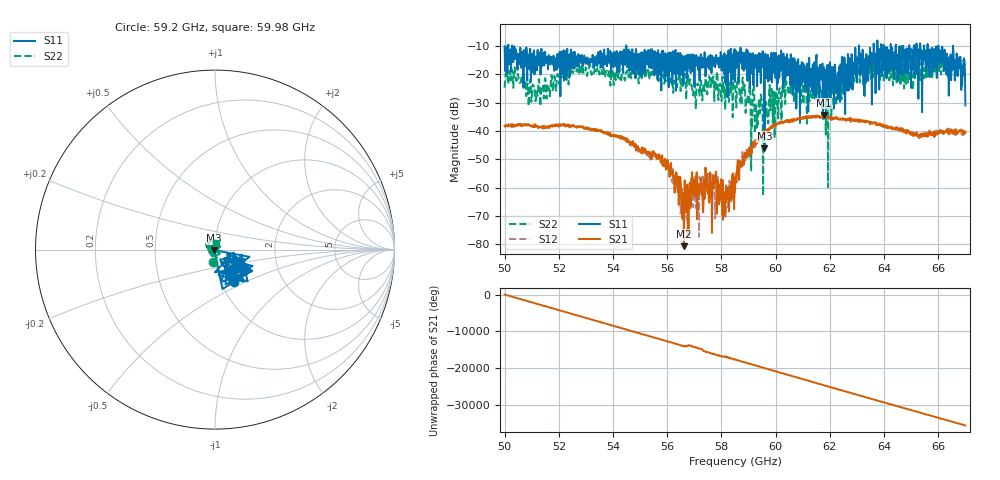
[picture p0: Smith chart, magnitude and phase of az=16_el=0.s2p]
!Created with skrf (http://scikit-rf.org).
# GHz S RI R 50.0
!freq ReS11 ImS11 ReS21 ImS21 ReS12 ImS12 ReS22 ImS22
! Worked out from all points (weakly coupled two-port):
!   1001 points, 50 GHz to 67 GHz, reference 50 ohm
!   highest |S21| = -34.43 dB at 61.78 GHz (marker M1); lowest = -80.7 dB at 56.61 GHz (marker M2)
!   lowest |S11| = -46.1 dB at 59.59 GHz (marker M3), VSWR 1.01, Z = 49.6 - j0.291 ohm
!   |S11| at or under -10 dB: 50.27 GHz to 54.49 GHz (4.215 GHz wide, 8.05 % of centre); 54.49 GHz to 63.07 GHz (8.583 GHz wide, 14.6 % of centre); 63.07 GHz to 63.61 GHz (540.4 MHz wide, 0.853 % of centre) (the widest 3 of 20)
!   |S22| runs from -62.9 to -13.9 dB; largest |S21 - S12| = 0.0024
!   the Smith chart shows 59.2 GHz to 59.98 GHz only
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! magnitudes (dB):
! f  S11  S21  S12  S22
! 50 GHz  -10.1  -38.3  -38.5  -24.7
! 50.42 GHz  -14.1  -38.0  -38.0  -22.0
! 51.38 GHz  -17.0  -39.0  -38.4  -24.3
! 52.84 GHz  -14.2  -38.7  -38.4  -19.3
! 55.68 GHz  -13.4  -49.9  -49.0  -22.5
! 56.61 GHz  -14.6  -80.7  -68.6  -21.8
! 57 GHz  -24.0  -57.3  -57.7  -21.8
! 57.5 GHz  -16.8  -62.0  -59.1  -24.5
! 58.18 GHz  -14.8  -59.3  -62.5  -21.5
! 58.5 GHz  -22.6  -61.6  -56.0  -24.5
! 59.59 GHz  -46.1  -40.0  -40.7  -29.8
! 60.34 GHz  -13.9  -36.6  -36.6  -25.2
! 61.34 GHz  -25.9  -35.3  -35.4  -25.7
! 61.78 GHz  -17.5  -34.4  -34.7  -22.0
! 62 GHz  -15.7  -35.6  -35.5  -24.9
! 62.04 GHz  -19.1  -35.5  -35.3  -30.8
! 62.6 GHz  -19.9  -36.4  -36.0  -19.2
! 64.18 GHz  -18.9  -38.5  -38.8  -18.5
! 66.08 GHz  -15.6  -39.6  -39.8  -15.7
! 66.42 GHz  -15.7  -40.3  -40.5  -16.1
! 66.75 GHz  -17.6  -40.3  -40.3  -18.5
! 67 GHz  -31.0  -40.6  -40.3  -15.9
